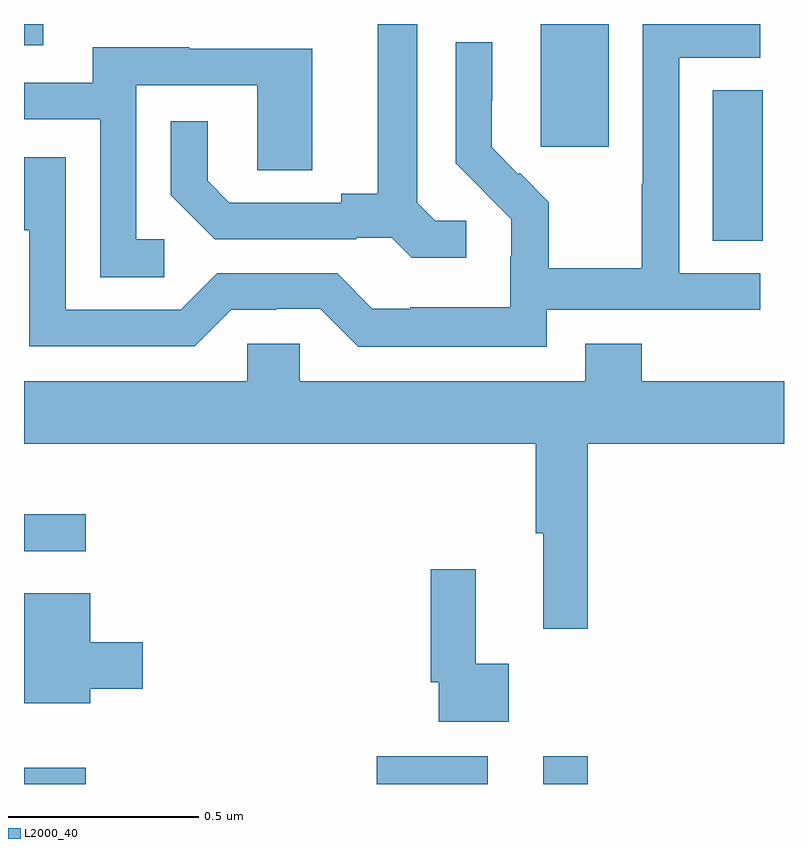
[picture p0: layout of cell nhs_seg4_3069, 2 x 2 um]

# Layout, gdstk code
import gdstk
lib = gdstk.Library(unit=1e-6, precision=1e-09)
def R(c, l, rs):  # rectangles x0, y0, x1, y1
    for r in rs: c.add(gdstk.rectangle(r[:2], r[2:], *l))
def P(c, l, *ps):  # polygons
    for p in ps: c.add(gdstk.Polygon(p, *l))
L2000_40 = (2000, 40)

nhs_seg4_3069 = lib.new_cell('nhs_seg4_3069')
R(nhs_seg4_3069, L2000_40, [(148,819.9,148.162,819.943), (148.928,819.9,149.221,819.973), (149.366,819.9,149.483,819.973), (148,820.512,148.162,820.61), (149.813,821.329,149.944,821.726), (149.36,821.577,149.539,821.9), (148,821.844,148.051,821.9)])
P(nhs_seg4_3069, L2000_40, [(149.376,821.148),(149.938,821.148),(149.938,821.244),(149.724,821.244),(149.724,821.811),(149.938,821.811),(149.938,821.9),(149.628,821.9),(149.628,821.48),(149.626,821.48),(149.626,821.257),(149.381,821.257),(149.381,821.431),(149.304,821.508),(149.301,821.505),(149.231,821.576),(149.231,821.698),(149.232,821.698),(149.232,821.852),(149.136,821.852),(149.136,821.534),(149.209,821.461),(149.208,821.46),(149.282,821.386),(149.282,821.289),(149.28,821.289),(149.28,821.155),(149.017,821.155),(149.017,821.151),(148.917,821.151),(148.824,821.244),(148.509,821.244),(148.413,821.148),(148.11,821.148),(148.11,821.55),(148,821.55),(148,821.454),(148.001,821.454),(148.001,821.357),(148.014,821.357),(148.014,821.052),(148.449,821.052),(148.545,821.148),(148.664,821.148),(148.664,821.151),(148.779,821.151),(148.879,821.051),(149.376,821.051)],
  [(149.164,821.382),(149.082,821.382),(149.035,821.429),(149.035,821.9),(148.931,821.9),(148.931,821.453),(148.835,821.453),(148.835,821.43),(148.54,821.43),(148.483,821.487),(148.483,821.644),(148.386,821.644),(148.386,821.45),(148.502,821.334),(148.874,821.334),(148.874,821.337),(148.968,821.337),(149.02,821.285),(149.164,821.285)],
  [(148.369,821.334),(148.296,821.334),(148.296,821.739),(148.614,821.739),(148.614,821.515),(148.759,821.515),(148.759,821.835),(148.435,821.835),(148.435,821.839),(148.181,821.839),(148.181,821.745),(148,821.745),(148,821.649),(148.2,821.649),(148.2,821.233),(148.369,821.233)],
  [(149.483,820.796),(150,820.796),(150,820.96),(149.625,820.96),(149.625,821.059),(149.477,821.059),(149.477,820.96),(148.725,820.96),(148.725,821.058),(148.587,821.058),(148.587,820.96),(148,820.96),(148,820.796),(149.347,820.796),(149.347,820.56),(149.366,820.56),(149.366,820.308),(149.483,820.308)],
  [(149.275,820.217),(149.189,820.217),(149.189,820.465),(149.071,820.465),(149.071,820.168),(149.091,820.168),(149.091,820.064),(149.275,820.064)],
  [(148.174,820.151),(148.312,820.151),(148.312,820.273),(148.174,820.273),(148.174,820.402),(148,820.402),(148,820.112),(148.174,820.112)])

lib.write_gds('nhs_seg4_3069.gds')
